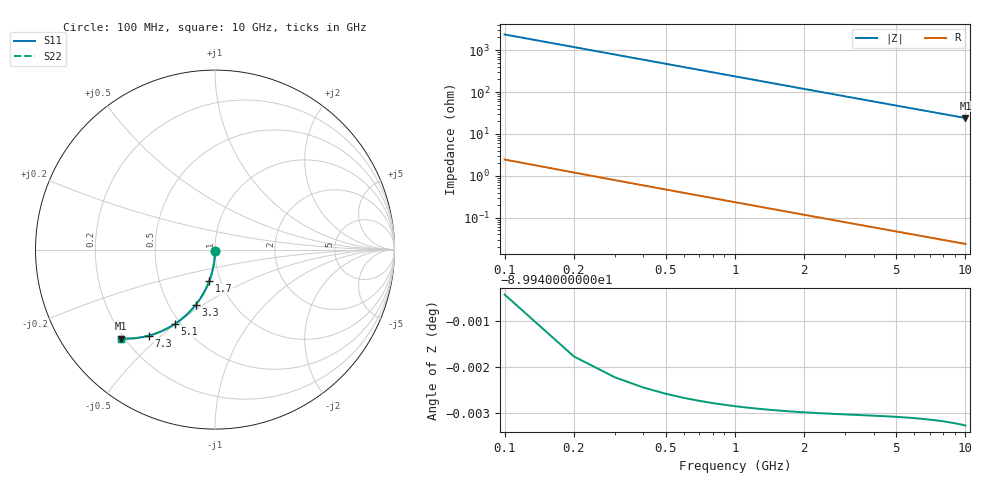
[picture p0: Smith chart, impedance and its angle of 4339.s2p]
# Hz S RI R 50.00
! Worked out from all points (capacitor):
!   100 points, 100 MHz to 10 GHz, reference 50 ohm
!   read as one part in shunt: C = 675 fF near 100 MHz
!   lowest |Z| = 24 ohm at 10 GHz (marker M1)
!   S11 on the Smith chart (normalised r, x): 100 MHz: 1.00, -0.02; 1.7 GHz: 0.89, -0.32; 3.3 GHz: 0.67, -0.47; 5.1 GHz: 0.47, -0.50; 7.3 GHz: 0.30, -0.46; 10 GHz: 0.19, -0.39
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1e8  -0.000118 -0.0106  0.9999 -0.0106  0.9999 -0.0106  -0.000118 -0.0106
2e8  -0.000465 -0.0211  0.9995 -0.0213  0.9995 -0.0213  -0.000465 -0.0211
3e8  -0.00104 -0.0317  0.999 -0.0319  0.999 -0.0319  -0.00104 -0.0317
4e8  -0.00183 -0.0422  0.9982 -0.0425  0.9982 -0.0425  -0.00183 -0.0422
5e8  -0.00285 -0.0527  0.9971 -0.053  0.9971 -0.053  -0.00285 -0.0527
6e8  -0.00408 -0.0631  0.9959 -0.0635  0.9959 -0.0635  -0.00408 -0.0631
8e8  -0.00721 -0.0838  0.9928 -0.0844  0.9928 -0.0844  -0.00721 -0.0838
9e8  -0.00909 -0.0941  0.9909 -0.0948  0.9909 -0.0948  -0.00909 -0.0941
1.1e9  -0.0135 -0.1145  0.9865 -0.1153  0.9865 -0.1153  -0.0135 -0.1145
1.4e9  -0.0216 -0.1444  0.9784 -0.1454  0.9784 -0.1454  -0.0216 -0.1444
1.7e9  -0.0315 -0.1735  0.9685 -0.1747  0.9685 -0.1747  -0.0315 -0.1735
1.8e9  -0.0351 -0.183  0.9649 -0.1843  0.9649 -0.1843  -0.0351 -0.183
2.1e9  -0.0471 -0.2107  0.9529 -0.2122  0.9529 -0.2122  -0.0471 -0.2107
2.5e9  -0.0654 -0.2458  0.9346 -0.2476  0.9346 -0.2476  -0.0654 -0.2458
3.3e9  -0.1082 -0.309  0.8918 -0.3114  0.8918 -0.3114  -0.1082 -0.309
3.4e9  -0.1141 -0.3162  0.8859 -0.3186  0.8859 -0.3186  -0.1141 -0.3162
4.2e9  -0.1638 -0.368  0.8362 -0.3711  0.8362 -0.3711  -0.1638 -0.368
5.1e9  -0.2234 -0.4142  0.7765 -0.4179  0.7765 -0.4179  -0.2234 -0.4142
6.7e9  -0.3307 -0.4675  0.6693 -0.4724  0.6693 -0.4724  -0.3307 -0.4675
7.3e9  -0.3693 -0.4794  0.6307 -0.4848  0.6307 -0.4848  -0.3693 -0.4794
8.4e9  -0.436 -0.4923  0.5639 -0.4985  0.5639 -0.4985  -0.436 -0.4923
1e10  -0.522 -0.4953  0.4779 -0.5027  0.4779 -0.5027  -0.522 -0.4953
